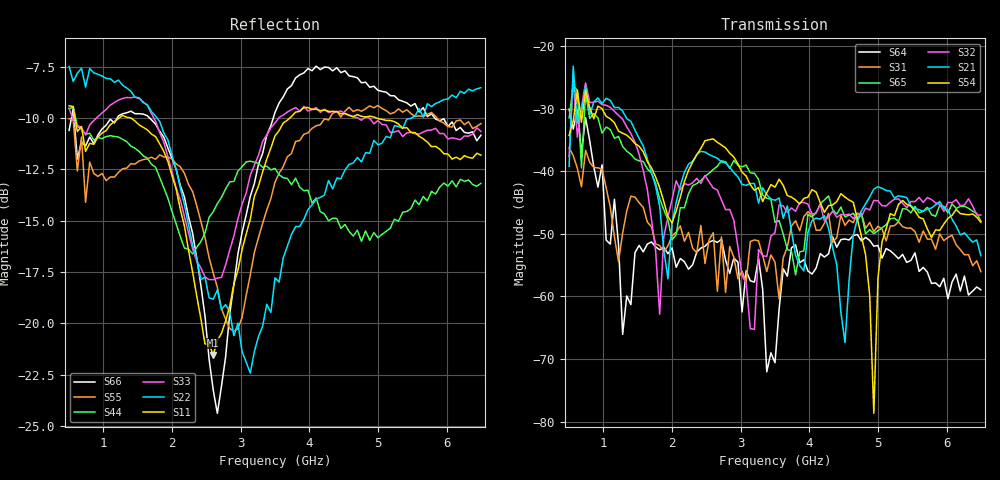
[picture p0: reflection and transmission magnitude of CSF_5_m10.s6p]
!Keysight Technologies,M9804A,MY58100912,A.14.10.03
!Date: Thursday, April 27, 2023 10:28:33
!Correction: S11(C  6-Port  )
!S12(C  6-Port  )
!S13(C  6-Port  )
!S14(C  6-Port  )
!S15(C  6-Port  )
!S16(C  6-Port  )
!S21(C  6-Port  )
!S22(C  6-Port  )
!S23(C  6-Port  )
!S24(C  6-Port  )
!S25(C  6-Port  )
!S26(C  6-Port  )
!S31(C  6-Port  )
!S32(C  6-Port  )
!S33(C  6-Port  )
!S34(C  6-Port  )
!S35(C  6-Port  )
!S36(C  6-Port  )
!S41(C  6-Port  )
!S42(C  6-Port  )
!S43(C  6-Port  )
!S44(C  6-Port  )
!S45(C  6-Port  )
!S46(C  6-Port  )
!S51(C  6-Port  )
!S52(C  6-Port  )
!S53(C  6-Port  )
!S54(C  6-Port  )
!S55(C  6-Port  )
!S56(C  6-Port  )
!S61(C  6-Port  )
!S62(C  6-Port  )
!S63(C  6-Port  )
!S64(C  6-Port  )
!S65(C  6-Port  )
!S66(C  6-Port  )
!S6P File: Measurement: :
# Hz S  RI  R 50
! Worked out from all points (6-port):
!   101 points, 500 MHz to 6.5 GHz, reference 50 ohm
!   strongest paths, dB at 500 MHz, 2 GHz, 3.5 GHz, 5 GHz, 6.5 GHz:
!     S54: -34.3, -48.3, -42.6, -57.1, -48.1
!     S21: -39.2, -48.3, -44.7, -42.5, -53.5
!     S32: -37.7, -44.5, -49.8, -44.7, -47.0
!     S65: -31.5, -51.0, -48.2, -49.5, -48.0
!     S31: -36.3, -50.3, -54.5, -48.8, -56.0
!     S64: -30.1, -52.3, -70.6, -51.9, -59.0
!   lowest |S11| = -21.5 dB at 2.6 GHz (marker M1), VSWR 1.18, Z = 42.5 + j2.1 ohm
!   |S11| at or under -10 dB: 587.4 MHz to 1.231 GHz (643.4 MHz wide, 70.8 % of centre); 1.4 GHz to 3.717 GHz (2.317 GHz wide, 90.6 % of centre); 4.976 GHz to end of sweep
